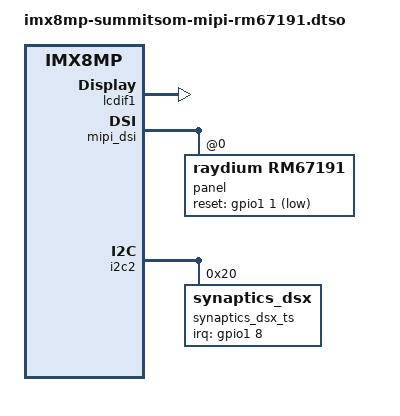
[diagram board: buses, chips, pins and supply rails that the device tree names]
// SPDX-License-Identifier: (GPL-2.0+ OR MIT)
/*
 * Copyright 2021 Ezurio LLC
 */

/* For MX8_DSI_OLED1 display */

/dts-v1/;
/plugin/;

#include <dt-bindings/gpio/gpio.h>
#include <dt-bindings/interrupt-controller/irq.h>

#include "imx8mp-pinfunc.h"

&lcdif1 {
	status = "okay";
};

&mipi_dsi {
	status = "okay";

	#address-cells = <1>;
	#size-cells = <0>;

	panel@0 {
		compatible = "raydium,rm67191";
		reg = <0>;
		pinctrl-0 = <&pinctrl_mipi_dsi_en>;
		reset-gpio = <&gpio1 1 GPIO_ACTIVE_LOW>;
		dsi-lanes = <4>;
		video-mode = <2>;	/* 0: burst mode
					 * 1: non-burst mode with sync event
					 * 2: non-burst mode with sync pulse
					 */
		panel-width-mm = <68>;
		panel-height-mm = <121>;
	};
};

&i2c2 {
	#address-cells = <1>;
	#size-cells = <0>;

	synaptics_dsx_ts@20 {
		compatible = "synaptics_dsx";
		reg = <0x20>;
		pinctrl-names = "default";
		pinctrl-0 = <&pinctrl_i2c2_synaptics_dsx_io>;
		interrupt-parent = <&gpio1>;
		interrupts = <8 IRQ_TYPE_LEVEL_LOW>;
		synaptics,diagonal-rotation;
	};
};

&iomuxc {
	pinctrl_mipi_dsi_en: mipi_dsi_en {
		fsl,pins = <
			MX8MP_IOMUXC_GPIO1_IO01__GPIO1_IO01		0x16
		>;
	};

	pinctrl_i2c2_synaptics_dsx_io: synaptics_dsx_iogrp {
		fsl,pins = <
			MX8MP_IOMUXC_GPIO1_IO08__GPIO1_IO08		0x16
		>;
	};
};

#include "imx8mp-summitsom-gpu.dtsi"
